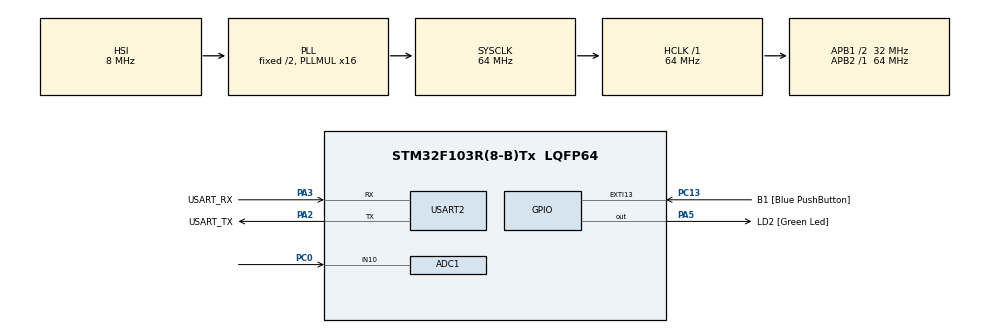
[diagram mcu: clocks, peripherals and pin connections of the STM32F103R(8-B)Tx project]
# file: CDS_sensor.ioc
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ADC1.Channel-0\#ChannelRegularConversion=ADC_CHANNEL_10
ADC1.NbrOfConversionFlag=1
ADC1.Rank-0\#ChannelRegularConversion=1
ADC1.SamplingTime-0\#ChannelRegularConversion=ADC_SAMPLETIME_1CYCLE_5
ADC1.master=1
Mcu.Family=STM32F1
Mcu.Name=STM32F103R(8-B)Tx
Mcu.Package=LQFP64
NVIC.EXTI15_10_IRQn=true\:0\:0\:false\:false\:true\:true\:true\:true
NVIC.PriorityGroup=NVIC_PRIORITYGROUP_4
PA13.GPIO_Label=TMS
PA13.Mode=Serial_Wire
PA13.Signal=SYS_JTMS-SWDIO
PA14.GPIO_Label=TCK
PA14.Mode=Serial_Wire
PA14.Signal=SYS_JTCK-SWCLK
PA2.GPIO_Label=USART_TX
PA2.GPIO_Mode=GPIO_MODE_AF_PP
PA2.GPIO_PuPd=GPIO_NOPULL
PA2.GPIO_Speed=GPIO_SPEED_FREQ_LOW
PA2.Mode=Asynchronous
PA2.Signal=USART2_TX
PA3.GPIO_Label=USART_RX
PA3.GPIO_Mode=GPIO_MODE_AF_PP
PA3.GPIO_PuPd=GPIO_NOPULL
PA3.GPIO_Speed=GPIO_SPEED_FREQ_LOW
PA3.Mode=Asynchronous
PA3.Signal=USART2_RX
PA5.GPIO_Label=LD2 [Green Led]
PA5.GPIO_ModeDefaultOutputPP=GPIO_MODE_OUTPUT_PP
PA5.GPIO_PuPd=GPIO_NOPULL
PA5.GPIO_Speed=GPIO_SPEED_FREQ_LOW
PA5.Signal=GPIO_Output
PB3.GPIO_Label=SWO
PB3.Signal=SYS_JTDO-TRACESWO
PC0.Signal=ADCx_IN10
PC13-TAMPER-RTC.GPIO_Label=B1 [Blue PushButton]
PC13-TAMPER-RTC.GPIO_PuPd=GPIO_NOPULL
PC13-TAMPER-RTC.Signal=GPXTI13
PC14-OSC32_IN.Signal=RCC_OSC32_IN
PC15-OSC32_OUT.Signal=RCC_OSC32_OUT
PD0-OSC_IN.Signal=RCC_OSC_IN
PD1-OSC_OUT.Signal=RCC_OSC_OUT
ProjectManager.HeapSize=0x200
ProjectManager.StackSize=0x400
ProjectManager.TargetToolchain=STM32CubeIDE
RCC.ADCPresc=RCC_ADCPCLK2_DIV6
RCC.AHBFreq_Value=64000000
RCC.APB1CLKDivider=RCC_HCLK_DIV2
RCC.APB1Freq_Value=32000000
RCC.APB1TimFreq_Value=64000000
RCC.APB2Freq_Value=64000000
RCC.APB2TimFreq_Value=64000000
RCC.HCLKFreq_Value=64000000
RCC.PLLMUL=RCC_PLL_MUL16
RCC.RTCClockSelection=RCC_RTCCLKSOURCE_LSE
RCC.SYSCLKFreq_VALUE=64000000
RCC.SYSCLKSource=RCC_SYSCLKSOURCE_PLLCLK
RCC.USBFreq_Value=64000000
SH.ADCx_IN10.0=ADC1_IN10,IN10
USART2.VirtualMode=VM_ASYNC
board=NUCLEO-F103RB

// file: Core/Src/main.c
/* USER CODE BEGIN Header */
/**
  ******************************************************************************
  * @file           : main.c
  * @brief          : Main program body
  ******************************************************************************
  * @attention
  *
  * Copyright (c) 2025 STMicroelectronics.
  * All rights reserved.
  *
  * This software is licensed under terms that can be found in the LICENSE file
  * in the root directory of this software component.
  * If no LICENSE file comes with this software, it is provided AS-IS.
  *
  ******************************************************************************
  */
/* USER CODE END Header */
#include "main.h"

/* USER CODE BEGIN Includes */
#include <stdio.h>
/* USER CODE END Includes */

ADC_HandleTypeDef hadc1;

UART_HandleTypeDef huart2;

void SystemClock_Config(void);
static void MX_GPIO_Init(void);
static void MX_USART2_UART_Init(void);
static void MX_ADC1_Init(void);

/* USER CODE BEGIN 0 */
#ifdef __GNUC__
/* With GCC, small printf (option LD Linker->Libraries->Small printf
   set to 'Yes') calls __io_putchar() */
#define PUTCHAR_PROTOTYPE int __io_putchar(int ch)
#else
#define PUTCHAR_PROTOTYPE int fputc(int ch, FILE *f)
#endif /* __GNUC__ */

/**
  * @brief  Retargets the C library printf function to the USART.
  * @param  None
  * @retval None
  */
PUTCHAR_PROTOTYPE
{
  /* Place your implementation of fputc here */
  /* e.g. write a character to the USART2 and Loop until the end of transmission */
  if (ch == '\n')
    HAL_UART_Transmit(&huart2, (uint8_t*)"\r", 1, 0xFFFF);
  HAL_UART_Transmit(&huart2, (uint8_t*)&ch, 1, 0xFFFF);

  return ch;
}
/* USER CODE END 0 */

int main(void)
{

  /* USER CODE BEGIN 1 */
	uint32_t adc_value = 0;
	float voltage = 0.0f;
	uint32_t counter = 0;
  /* USER CODE END 1 */

  /* MCU Configuration--------------------------------------------------------*/

  /* Reset of all peripherals, Initializes the Flash interface and the Systick. */
  HAL_Init();

  /* Configure the system clock */
  SystemClock_Config();

  /* Initialize all configured peripherals */
  MX_GPIO_Init();
  MX_USART2_UART_Init();
  MX_ADC1_Init();
  /* USER CODE BEGIN 2 */
  printf("STM32F103 CDS Sensor Reading Example\r\n");
  printf("System Clock: 64MHz\r\n");
  printf("ADC Channel: PC0\r\n");
  printf("Starting measurements...\r\n\r\n");

  /* Calibrate ADC */
  HAL_ADCEx_Calibration_Start(&hadc1);
  /* USER CODE END 2 */

  /* Infinite loop */
  while (1)
  {

    /* USER CODE BEGIN 3 */
	    /* Start ADC conversion */
	    HAL_ADC_Start(&hadc1);

	    /* Wait for conversion to complete */
	    if (HAL_ADC_PollForConversion(&hadc1, 100) == HAL_OK)
	    {
	      /* Get ADC value */
	      adc_value = HAL_ADC_GetValue(&hadc1);

	      /* Convert ADC value to voltage (3.3V reference, 12-bit ADC) */
	      voltage = (adc_value * 3.3f) / 4095.0f;

	      /* Print results */
	      printf("[%lu] CDS ADC Value: %lu, Voltage: %.3fV\r\n", counter++, adc_value, voltage);

	      /* CDS 센서 값에 따른 조도 상태 출력 */
	      if (voltage < 0.5f)
	      {
	        printf("       Light Level: Very Dark\r\n");
	      }
	      else if (voltage < 1.0f)
	      {
	        printf("       Light Level: Dark\r\n");
	      }
	      else if (voltage < 2.0f)
	      {
	        printf("       Light Level: Medium\r\n");
	      }
	      else if (voltage < 2.5f)
	      {
	        printf("       Light Level: Bright\r\n");
	      }
	      else
	      {
	        printf("       Light Level: Very Bright\r\n");
	      }
	      printf("\r\n");
	    }

	    /* Stop ADC */
	    HAL_ADC_Stop(&hadc1);

	    /* Wait 1s before next reading */
	    HAL_Delay(1000);
	}
  /* USER CODE END 3 */
}

void SystemClock_Config(void)
{
  RCC_OscInitTypeDef RCC_OscInitStruct = {0};
  RCC_ClkInitTypeDef RCC_ClkInitStruct = {0};
  RCC_PeriphCLKInitTypeDef PeriphClkInit = {0};

  /** Initializes the RCC Oscillators according to the specified parameters
  * in the RCC_OscInitTypeDef structure.
  */
  RCC_OscInitStruct.OscillatorType = RCC_OSCILLATORTYPE_HSI;
  RCC_OscInitStruct.HSIState = RCC_HSI_ON;
  RCC_OscInitStruct.HSICalibrationValue = RCC_HSICALIBRATION_DEFAULT;
  RCC_OscInitStruct.PLL.PLLState = RCC_PLL_ON;
  RCC_OscInitStruct.PLL.PLLSource = RCC_PLLSOURCE_HSI_DIV2;
  RCC_OscInitStruct.PLL.PLLMUL = RCC_PLL_MUL16;
  if (HAL_RCC_OscConfig(&RCC_OscInitStruct) != HAL_OK)
  {
    Error_Handler();
  }

  /** Initializes the CPU, AHB and APB buses clocks
  */
  RCC_ClkInitStruct.ClockType = RCC_CLOCKTYPE_HCLK|RCC_CLOCKTYPE_SYSCLK
                              |RCC_CLOCKTYPE_PCLK1|RCC_CLOCKTYPE_PCLK2;
  RCC_ClkInitStruct.SYSCLKSource = RCC_SYSCLKSOURCE_PLLCLK;
  RCC_ClkInitStruct.AHBCLKDivider = RCC_SYSCLK_DIV1;
  RCC_ClkInitStruct.APB1CLKDivider = RCC_HCLK_DIV2;
  RCC_ClkInitStruct.APB2CLKDivider = RCC_HCLK_DIV1;

  if (HAL_RCC_ClockConfig(&RCC_ClkInitStruct, FLASH_LATENCY_2) != HAL_OK)
  {
    Error_Handler();
  }
  PeriphClkInit.PeriphClockSelection = RCC_PERIPHCLK_ADC;
  PeriphClkInit.AdcClockSelection = RCC_ADCPCLK2_DIV6;
  if (HAL_RCCEx_PeriphCLKConfig(&PeriphClkInit) != HAL_OK)
  {
    Error_Handler();
  }
}

static void MX_ADC1_Init(void)
{

  ADC_ChannelConfTypeDef sConfig = {0};

  /** Common config
  */
  hadc1.Instance = ADC1;
  hadc1.Init.ScanConvMode = ADC_SCAN_DISABLE;
  hadc1.Init.ContinuousConvMode = DISABLE;
  hadc1.Init.DiscontinuousConvMode = DISABLE;
  hadc1.Init.ExternalTrigConv = ADC_SOFTWARE_START;
  hadc1.Init.DataAlign = ADC_DATAALIGN_RIGHT;
  hadc1.Init.NbrOfConversion = 1;
  if (HAL_ADC_Init(&hadc1) != HAL_OK)
  {
    Error_Handler();
  }

  /** Configure Regular Channel
  */
  sConfig.Channel = ADC_CHANNEL_10;
  sConfig.Rank = ADC_REGULAR_RANK_1;
  sConfig.SamplingTime = ADC_SAMPLETIME_1CYCLE_5;
  if (HAL_ADC_ConfigChannel(&hadc1, &sConfig) != HAL_OK)
  {
    Error_Handler();
  }

}

static void MX_USART2_UART_Init(void)
{

  huart2.Instance = USART2;
  huart2.Init.BaudRate = 115200;
  huart2.Init.WordLength = UART_WORDLENGTH_8B;
  huart2.Init.StopBits = UART_STOPBITS_1;
  huart2.Init.Parity = UART_PARITY_NONE;
  huart2.Init.Mode = UART_MODE_TX_RX;
  huart2.Init.HwFlowCtl = UART_HWCONTROL_NONE;
  huart2.Init.OverSampling = UART_OVERSAMPLING_16;
  if (HAL_UART_Init(&huart2) != HAL_OK)
  {
    Error_Handler();
  }

}

static void MX_GPIO_Init(void)
{
  GPIO_InitTypeDef GPIO_InitStruct = {0};

  /* GPIO Ports Clock Enable */
  __HAL_RCC_GPIOC_CLK_ENABLE();
  __HAL_RCC_GPIOD_CLK_ENABLE();
  __HAL_RCC_GPIOA_CLK_ENABLE();
  __HAL_RCC_GPIOB_CLK_ENABLE();

  /*Configure GPIO pin Output Level */
  HAL_GPIO_WritePin(LD2_GPIO_Port, LD2_Pin, GPIO_PIN_RESET);

  /*Configure GPIO pin : B1_Pin */
  GPIO_InitStruct.Pin = B1_Pin;
  GPIO_InitStruct.Mode = GPIO_MODE_IT_RISING;
  GPIO_InitStruct.Pull = GPIO_NOPULL;
  HAL_GPIO_Init(B1_GPIO_Port, &GPIO_InitStruct);

  /*Configure GPIO pin : LD2_Pin */
  GPIO_InitStruct.Pin = LD2_Pin;
  GPIO_InitStruct.Mode = GPIO_MODE_OUTPUT_PP;
  GPIO_InitStruct.Pull = GPIO_NOPULL;
  GPIO_InitStruct.Speed = GPIO_SPEED_FREQ_LOW;
  HAL_GPIO_Init(LD2_GPIO_Port, &GPIO_InitStruct);

  /* EXTI interrupt init*/
  HAL_NVIC_SetPriority(EXTI15_10_IRQn, 0, 0);
  HAL_NVIC_EnableIRQ(EXTI15_10_IRQn);

}

void Error_Handler(void)
{
  __disable_irq();
  while (1)
  {
  }
}
